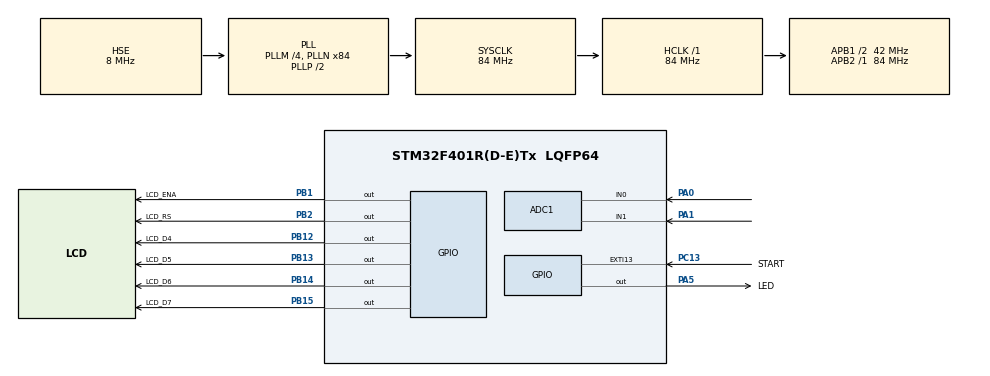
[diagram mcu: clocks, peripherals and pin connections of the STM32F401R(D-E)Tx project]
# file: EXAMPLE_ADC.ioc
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ADC1.Channel-1\#ChannelRegularConversion=ADC_CHANNEL_TEMPSENSOR
ADC1.NbrOfConversionFlag=1
ADC1.Rank-1\#ChannelRegularConversion=1
ADC1.SamplingTime-1\#ChannelRegularConversion=ADC_SAMPLETIME_3CYCLES
ADC1.master=1
Mcu.Family=STM32F4
Mcu.Name=STM32F401R(D-E)Tx
Mcu.Package=LQFP64
NVIC.EXTI15_10_IRQn=true\:2\:0\:true\:false\:true\:true\:true\:true
NVIC.PriorityGroup=NVIC_PRIORITYGROUP_4
PA0-WKUP.Signal=ADCx_IN0
PA1.Signal=ADCx_IN1
PA13.Mode=Serial_Wire
PA13.Signal=SYS_JTMS-SWDIO
PA14.Mode=Serial_Wire
PA14.Signal=SYS_JTCK-SWCLK
PA5.GPIO_Label=LED
PA5.Signal=GPIO_Output
PB1.GPIO_Label=LCD_ENA
PB1.Signal=GPIO_Output
PB12.GPIO_Label=LCD_D4
PB12.Signal=GPIO_Output
PB13.GPIO_Label=LCD_D5
PB13.Signal=GPIO_Output
PB14.GPIO_Label=LCD_D6
PB14.Signal=GPIO_Output
PB15.GPIO_Label=LCD_D7
PB15.Signal=GPIO_Output
PB2.GPIO_Label=LCD_RS
PB2.Signal=GPIO_Output
PC13-ANTI_TAMP.GPIO_Label=START
PC13-ANTI_TAMP.GPIO_ModeDefaultEXTI=GPIO_MODE_IT_FALLING
PC13-ANTI_TAMP.GPIO_PuPd=GPIO_PULLUP
PC13-ANTI_TAMP.Signal=GPXTI13
PH0\ -\ OSC_IN.Mode=HSE-External-Clock-Source
PH0\ -\ OSC_IN.Signal=RCC_OSC_IN
PH1\ -\ OSC_OUT.Mode=HSE-External-Clock-Source
PH1\ -\ OSC_OUT.Signal=RCC_OSC_OUT
ProjectManager.HeapSize=0x200
ProjectManager.StackSize=0x400
ProjectManager.TargetToolchain=STM32CubeIDE
RCC.48MHZClocksFreq_Value=24000000
RCC.AHBFreq_Value=84000000
RCC.APB1CLKDivider=RCC_HCLK_DIV2
RCC.APB1Freq_Value=42000000
RCC.APB1TimFreq_Value=84000000
RCC.APB2Freq_Value=84000000
RCC.APB2TimFreq_Value=84000000
RCC.CortexFreq_Value=84000000
RCC.HCLKFreq_Value=84000000
RCC.HSE_VALUE=8000000
RCC.HSI_VALUE=16000000
RCC.LSE_VALUE=32768
RCC.PLLM=4
RCC.PLLN=84
RCC.PLLQ=7
RCC.PLLSourceVirtual=RCC_PLLSOURCE_HSE
RCC.SYSCLKFreq_VALUE=84000000
RCC.SYSCLKSource=RCC_SYSCLKSOURCE_PLLCLK
RCC.VCOOutputFreq_Value=168000000
SH.ADCx_IN0.0=ADC1_IN0,IN0
SH.ADCx_IN1.0=ADC1_IN1,IN1
VP_ADC1_TempSens_Input.Mode=IN-TempSens
board=NUCLEO-F401RE

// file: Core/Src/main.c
/* USER CODE BEGIN Header */
/**
  ******************************************************************************
  * @file           : main.c
  * @brief          : Main program body
  ******************************************************************************
  * @attention
  *
  * Copyright (c) 2023 STMicroelectronics.
  * All rights reserved.
  *
  * This software is licensed under terms that can be found in the LICENSE file
  * in the root directory of this software component.
  * If no LICENSE file comes with this software, it is provided AS-IS.
  *
  ******************************************************************************
  */
/* USER CODE END Header */
#include "main.h"
#include "adc.h"
#include "gpio.h"

/* USER CODE BEGIN Includes */
#include "LCD_Library.h"
#include "ADC_Library.h"
/* USER CODE END Includes */

/* USER CODE BEGIN PV */
LCD_Struct_t LCD;
LCD_PinType LCD_PIN[] = {LCD_D4_Pin, LCD_D5_Pin, LCD_D6_Pin, LCD_D7_Pin};
LCD_PortType LCD_PORT[] = {LCD_D4_GPIO_Port, LCD_D5_GPIO_Port, LCD_D6_GPIO_Port, LCD_D7_GPIO_Port};
extern ADC_HandleTypeDef hadc1;
/* USER CODE END PV */

void SystemClock_Config(void);
/* USER CODE BEGIN PFP */
void HAL_GPIO_EXTI_Callback(uint16_t GPIO_Pin);
/* USER CODE END PFP */

int main(void)
{

  /* MCU Configuration--------------------------------------------------------*/

  /* Reset of all peripherals, Initializes the Flash interface and the Systick. */
  HAL_Init();

  /* USER CODE BEGIN Init */
  LCD = LCD_Create(LCD_PORT, LCD_PIN, LCD_RS_GPIO_Port, LCD_RS_Pin, LCD_ENA_GPIO_Port, LCD_ENA_Pin);

  /* USER CODE END Init */

  /* Configure the system clock */
  SystemClock_Config();

  /* Initialize all configured peripherals */
  MX_GPIO_Init();
  MX_ADC1_Init();
  /* USER CODE BEGIN 2 */
  LCD_Init(&LCD);
  LCD_Command(&LCD, ClearDisplay);
  LCD_Command(&LCD, ReturnHome);
  LCD_Gotoxy(&LCD, 0, 0);
  LCD_String(&LCD, "....STM32-F401RE....");
  LCD_Gotoxy(&LCD, 0, 1);
  LCD_String(&LCD, "    EXAMPLE ADC");
  LCD_Gotoxy(&LCD, 0, 2);
  LCD_String(&LCD, "  V1=xxxx  V2=xxxx");
  LCD_Gotoxy(&LCD, 0, 3);
  LCD_String(&LCD, "  V3=xxxx  VT=xxxx");

  /* USER CODE END 2 */

  /* Infinite loop */
  while (1)
  {

  }
}

void SystemClock_Config(void)
{
  RCC_OscInitTypeDef RCC_OscInitStruct = {0};
  RCC_ClkInitTypeDef RCC_ClkInitStruct = {0};

  /** Configure the main internal regulator output voltage
  */
  __HAL_RCC_PWR_CLK_ENABLE();
  __HAL_PWR_VOLTAGESCALING_CONFIG(PWR_REGULATOR_VOLTAGE_SCALE2);

  /** Initializes the RCC Oscillators according to the specified parameters
  * in the RCC_OscInitTypeDef structure.
  */
  RCC_OscInitStruct.OscillatorType = RCC_OSCILLATORTYPE_HSE;
  RCC_OscInitStruct.HSEState = RCC_HSE_BYPASS;
  RCC_OscInitStruct.PLL.PLLState = RCC_PLL_ON;
  RCC_OscInitStruct.PLL.PLLSource = RCC_PLLSOURCE_HSE;
  RCC_OscInitStruct.PLL.PLLM = 4;
  RCC_OscInitStruct.PLL.PLLN = 84;
  RCC_OscInitStruct.PLL.PLLP = RCC_PLLP_DIV2;
  RCC_OscInitStruct.PLL.PLLQ = 7;
  if (HAL_RCC_OscConfig(&RCC_OscInitStruct) != HAL_OK)
  {
    Error_Handler();
  }

  /** Initializes the CPU, AHB and APB buses clocks
  */
  RCC_ClkInitStruct.ClockType = RCC_CLOCKTYPE_HCLK|RCC_CLOCKTYPE_SYSCLK
                              |RCC_CLOCKTYPE_PCLK1|RCC_CLOCKTYPE_PCLK2;
  RCC_ClkInitStruct.SYSCLKSource = RCC_SYSCLKSOURCE_PLLCLK;
  RCC_ClkInitStruct.AHBCLKDivider = RCC_SYSCLK_DIV1;
  RCC_ClkInitStruct.APB1CLKDivider = RCC_HCLK_DIV2;
  RCC_ClkInitStruct.APB2CLKDivider = RCC_HCLK_DIV1;

  if (HAL_RCC_ClockConfig(&RCC_ClkInitStruct, FLASH_LATENCY_2) != HAL_OK)
  {
    Error_Handler();
  }
}

/* USER CODE BEGIN 4 */
void HAL_GPIO_EXTI_Callback(uint16_t GPIO_Pin){
	uint32_t channel_1, channel_2, channel_10, channel_temp;
	char string_value[10];

	HAL_GPIO_TogglePin(LED_GPIO_Port, LED_Pin);
	channel_1 = Read_Channel(ADC_CHANNEL_0);
	channel_2 = Read_Channel(ADC_CHANNEL_1);
	channel_temp = Read_Channel(ADC_CHANNEL_TEMPSENSOR);

	//Valor Canal1
	LCD_Gotoxy(&LCD, 5, 2);
	sprintf(string_value, "%04ld", channel_1);
	LCD_String(&LCD, string_value);
	//Valor Canal2
	LCD_Gotoxy(&LCD, 14, 2);
	sprintf(string_value, "%04ld", channel_2);
	LCD_String(&LCD, string_value);
	//Valor Canal4
	LCD_Gotoxy(&LCD, 14, 3);
	sprintf(string_value, "%04ld", channel_temp);
	LCD_String(&LCD, string_value);

	return;
}
/* USER CODE END 4 */

void Error_Handler(void)
{
  __disable_irq();
  while (1)
  {
  }
}
